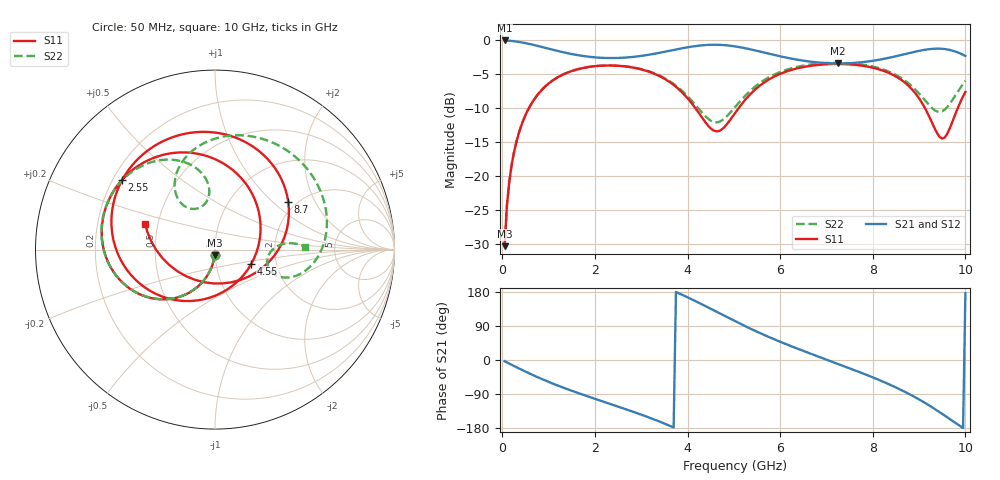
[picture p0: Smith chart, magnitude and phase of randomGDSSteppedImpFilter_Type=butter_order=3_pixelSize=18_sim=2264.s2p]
! freq	dB(S11)	phase(S11)	dB(S12)	phase(S12)
!  dB(S21)	phase(S21)	dB(S22)	phase(S22)
!S-par simulation data
#  GHz  S  DB  R 50
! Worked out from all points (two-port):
!   200 points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, 50 MHz to 10 GHz, reference 50 ohm
!   highest |S21| = -0.01 dB at 50 MHz (marker M1); lowest = -3.4 dB at 7.25 GHz (marker M2)
!   |S21| within 3 dB of the highest: start of sweep to 6.513 GHz; 8.003 GHz to end of sweep
!   lowest |S11| = -30.4 dB at 50 MHz (marker M3), VSWR 1.06, Z = 49.7 - j3.01 ohm
!   |S11| at or under -10 dB: start of sweep to 575 MHz; 4.169 GHz to 5.102 GHz (933.3 MHz wide, 20.1 % of centre); 9.127 GHz to 9.836 GHz (708.7 MHz wide, 7.48 % of centre)
!   |S22| runs from -30.4 to -3.3 dB; largest |S21 - S12| = 0
!   S11 on the Smith chart (normalised r, x): 50 MHz: 0.99, -0.06; 2.55 GHz: 0.24, +0.32; 4.55 GHz: 1.49, -0.24; 8.7 GHz: 1.82, +1.26; 10 GHz: 0.42, +0.15
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0.05  -30.37 -93.3  -0.01 -3.2  -0.01 -3.2  -30.37 -93.4
0.1  -24.38 -96.6  -0.03 -6.3  -0.03 -6.3  -24.38 -96.7
0.2  -18.48 -103.0  -0.08 -12.5  -0.08 -12.5  -18.47 -103.1
0.5  -11.04 -121.0  -0.40 -30.6  -0.40 -30.6  -11.04 -121.2
1.05  -6.10 -150.6  -1.31 -60.2  -1.31 -60.2  -6.10 -150.8
1.75  -4.06 177.4  -2.30 -92.0  -2.30 -92.0  -4.06 177.8
2.55  -3.77 143.2  -2.58 -124.9  -2.58 -124.9  -3.75 146.4
3.4  -5.28 100.7  -1.82 -162.7  -1.82 -162.7  -5.21 114.5
4  -8.53 56.6  -1.02 165.4  -1.02 165.4  -8.23 96.9
4.55  -13.25 -21.0  -0.64 132.1  -0.64 132.1  -12.01 107.0
5.05  -10.49 -108.8  -0.91 100.9  -0.91 100.9  -9.65 126.3
5.4  -7.64 -144.1  -1.38 80.3  -1.38 80.3  -7.15 120.8
5.85  -5.42 -175.9  -2.11 55.8  -2.11 55.8  -5.12 104.8
6.7  -3.71 139.3  -3.18 14.8  -3.18 14.8  -3.51 69.3
7.25  -3.48 113.8  -3.40 -10.3  -3.40 -10.3  -3.30 45.9
7.8  -3.76 87.5  -3.19 -35.9  -3.19 -35.9  -3.59 22.3
8.35  -4.81 57.1  -2.57 -64.0  -2.57 -64.0  -4.61 -1.2
8.7  -6.27 32.8  -2.01 -84.4  -2.01 -84.4  -5.95 -14.8
9.1  -9.66 -6.8  -1.41 -111.2  -1.41 -111.2  -8.61 -22.8
9.45  -14.29 -77.7  -1.22 -138.2  -1.22 -138.2  -10.55 -9.3
9.75  -11.47 -160.8  -1.57 -163.1  -1.57 -163.1  -8.47 4.6
10  -7.61 159.6  -2.29 176.3  -2.29 176.3  -5.96 1.8
